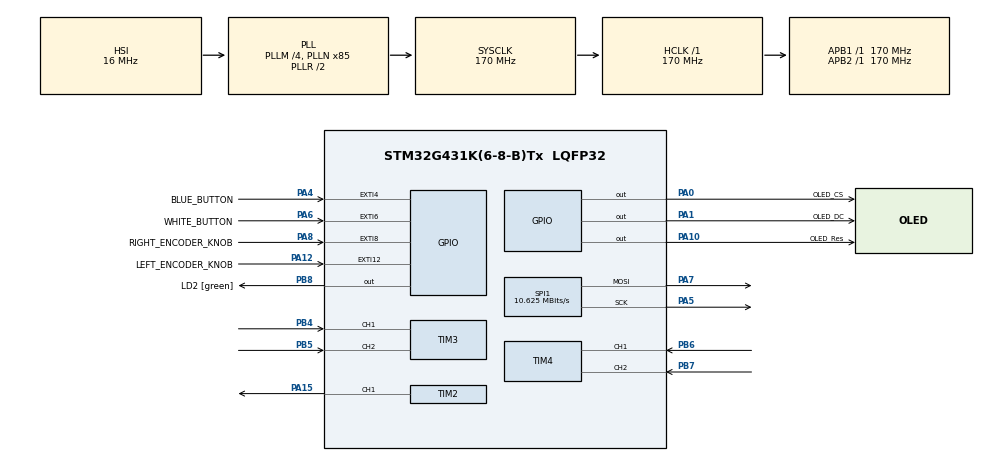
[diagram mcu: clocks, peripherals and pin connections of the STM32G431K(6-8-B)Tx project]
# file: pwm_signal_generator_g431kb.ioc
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Mcu.Family=STM32G4
Mcu.Name=STM32G431K(6-8-B)Tx
Mcu.Package=LQFP32
NUCLEO-G431KB.Bsp_Common_DEMO=true
NUCLEO-G431KB.VCP=true
NVIC.EXTI15_10_IRQn=true\:0\:0\:false\:false\:true\:true\:true\:true
NVIC.EXTI4_IRQn=true\:0\:0\:false\:false\:true\:true\:true\:true
NVIC.EXTI9_5_IRQn=true\:0\:0\:false\:false\:true\:true\:true\:true
NVIC.PriorityGroup=NVIC_PRIORITYGROUP_4
NVIC.TIM3_IRQn=true\:0\:0\:false\:false\:true\:true\:true\:true
NVIC.TIM4_IRQn=true\:0\:0\:false\:false\:true\:true\:true\:true
PA0.GPIO_Label=OLED_CS
PA0.Signal=GPIO_Output
PA1.GPIO_Label=OLED_DC
PA1.Signal=GPIO_Output
PA10.GPIO_Label=OLED_Res
PA10.Signal=GPIO_Output
PA12.GPIO_Label=LEFT_ENCODER_KNOB
PA12.GPIO_ModeDefaultEXTI=GPIO_MODE_IT_FALLING
PA12.GPIO_PuPd=GPIO_PULLUP
PA12.Signal=GPXTI12
PA13.GPIO_Label=T_SWDIO
PA13.Signal=SYS_JTMS-SWDIO
PA14.GPIO_Label=T_SWCLK
PA14.Signal=SYS_JTCK-SWCLK
PA15.Signal=S_TIM2_CH1
PA2.Signal=USART2_TX
PA3.Signal=USART2_RX
PA4.GPIO_Label=BLUE_BUTTON
PA4.GPIO_ModeDefaultEXTI=GPIO_MODE_IT_FALLING
PA4.GPIO_PuPd=GPIO_PULLUP
PA4.Signal=GPXTI4
PA5.Mode=TX_Only_Simplex_Unidirect_Master
PA5.Signal=SPI1_SCK
PA6.GPIO_Label=WHITE_BUTTON
PA6.GPIO_ModeDefaultEXTI=GPIO_MODE_IT_FALLING
PA6.GPIO_PuPd=GPIO_PULLUP
PA6.Signal=GPXTI6
PA7.Mode=TX_Only_Simplex_Unidirect_Master
PA7.Signal=SPI1_MOSI
PA8.GPIO_Label=RIGHT_ENCODER_KNOB
PA8.GPIO_ModeDefaultEXTI=GPIO_MODE_IT_FALLING
PA8.GPIO_PuPd=GPIO_PULLUP
PA8.Signal=GPXTI8
PB3.GPIO_Label=T_SWO
PB3.Signal=SYS_JTDO-SWO
PB4.Signal=S_TIM3_CH1
PB5.Signal=S_TIM3_CH2
PB6.Signal=S_TIM4_CH1
PB7.Signal=S_TIM4_CH2
PB8-BOOT0.GPIO_Label=LD2 [green]
PB8-BOOT0.Signal=GPIO_Output
ProjectManager.HeapSize=0x200
ProjectManager.StackSize=0x400
ProjectManager.TargetToolchain=STM32CubeIDE
RCC.ADC12Freq_Value=170000000
RCC.AHBFreq_Value=170000000
RCC.APB1Freq_Value=170000000
RCC.APB1TimFreq_Value=170000000
RCC.APB2Freq_Value=170000000
RCC.APB2TimFreq_Value=170000000
RCC.CortexFreq_Value=170000000
RCC.EXTERNAL_CLOCK_VALUE=12288000
RCC.HCLKFreq_Value=170000000
RCC.HSE_VALUE=8000000
RCC.HSI48_VALUE=48000000
RCC.HSI_VALUE=16000000
RCC.LSE_VALUE=32768
RCC.PLLM=RCC_PLLM_DIV4
RCC.PLLN=85
RCC.SYSCLKFreq_VALUE=170000000
RCC.SYSCLKSource=RCC_SYSCLKSOURCE_PLLCLK
RCC.USBFreq_Value=170000000
RCC.VCOOutputFreq_Value=340000000
SH.S_TIM2_CH1.0=TIM2_CH1,PWM Generation1 CH1
SH.S_TIM3_CH1.0=TIM3_CH1,Encoder_Interface
SH.S_TIM3_CH2.0=TIM3_CH2,Encoder_Interface
SH.S_TIM4_CH1.0=TIM4_CH1,Encoder_Interface
SH.S_TIM4_CH2.0=TIM4_CH2,Encoder_Interface
SPI1.BaudRatePrescaler=SPI_BAUDRATEPRESCALER_16
SPI1.CalculateBaudRate=10.625 MBits/s
SPI1.DataSize=SPI_DATASIZE_8BIT
SPI1.Direction=SPI_DIRECTION_2LINES
SPI1.Mode=SPI_MODE_MASTER
SPI1.VirtualType=VM_MASTER
TIM2.Channel-PWM\ Generation1\ CH1=TIM_CHANNEL_1
TIM2.OCPolarity_1=TIM_OCPOLARITY_LOW
TIM2.Prescaler=17-1
TIM3.CounterMode=TIM_COUNTERMODE_UP
TIM3.EncoderMode=TIM_ENCODERMODE_TI1
TIM3.IC1Filter=15
TIM3.IC1Polarity=TIM_ICPOLARITY_RISING
TIM3.IC2Filter=15
TIM3.IC2Polarity=TIM_ICPOLARITY_FALLING
TIM4.IC1Filter=15
TIM4.IC2Filter=15
VP_NUCLEO-G431KB_VS_BSP_COMMON.Mode=COMMON
VP_SYS_VS_DBSignals.Mode=DisableDeadBatterySignals
VP_TIM2_VS_ClockSourceINT.Mode=Internal
board=NUCLEO-G431KB

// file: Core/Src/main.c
/* USER CODE BEGIN Header */
/**
 ******************************************************************************
 * @file           : main.c
 * @brief          : Main program body
 ******************************************************************************
 * @attention
 *
 * Copyright (c) 2025 STMicroelectronics.
 * All rights reserved.
 *
 * This software is licensed under terms that can be found in the LICENSE file
 * in the root directory of this software component.
 * If no LICENSE file comes with this software, it is provided AS-IS.
 *
 ******************************************************************************
 */
/* USER CODE END Header */
#include "main.h"
#include "spi.h"
#include "tim.h"
#include "gpio.h"

/* USER CODE BEGIN Includes */
#include "ssd1306.h"
/* USER CODE END Includes */

/* USER CODE BEGIN PD */
//#define DRONE_ESC_PRESETS
//#define SG90_SERVO_PRESETS
//#define THROTTLE_BODY_PRESETS
#define COOLANT_PUMP_PRESETS

#define OLED_REFRESH_RATE 200

// https://github.com/bitdump/BLHeli/blob/master/BLHeli_32%20ARM/BLHeli_32%20manual%20ARM%20Rev32.x.pdf
#ifdef DRONE_ESC_PRESETS
// Left button (blue)
#define FREQUENCY_PRESET_1 50
#define DUTY_CYCLE_PRESET_1 0
// Right button (white)
#define FREQUENCY_PRESET_2 50
#define DUTY_CYCLE_PRESET_2 10  // 2 ms (max throttle)
// Left encoder knob
#define FREQUENCY_PRESET_3 50
#define DUTY_CYCLE_PRESET_3 5  // 1 ms (min throttle)
// Right encoder knob
#define FREQUENCY_PRESET_4 50
#define DUTY_CYCLE_PRESET_4 8  // more than 50% throttle
// Initial frequency
#define INIT_FREQ 50
#define PRESETS_NAME "  Drone ESC presets"
#endif

// https://www.upesy.com/blogs/tutorials/esp32-servo-motor-sg90-on-micropython
#ifdef SG90_SERVO_PRESETS
// Left button (blue)
#define FREQUENCY_PRESET_1 50
#define DUTY_CYCLE_PRESET_1 0
// Right button (white)
#define FREQUENCY_PRESET_2 50
#define DUTY_CYCLE_PRESET_2 10
// Left encoder knob
#define FREQUENCY_PRESET_3 50
#define DUTY_CYCLE_PRESET_3 3 // 0.6 ms (close to 0.5 ms [min value])
// Right encoder knob
#define FREQUENCY_PRESET_4 50
#define DUTY_CYCLE_PRESET_4 12 // 2.4 ms (close to 2.5 ms [max value])
// Initial frequency
#define INIT_FREQ 50
#define PRESETS_NAME "  SG90 servo presets"
#endif

// https://www.bosch-motorsport.com/content/downloads/Raceparts/en-GB/51017995147518219.html
#ifdef THROTTLE_BODY_PRESETS
// Left button (blue)
#define FREQUENCY_PRESET_1 2000
#define DUTY_CYCLE_PRESET_1 0
// Right button (white)
#define FREQUENCY_PRESET_2 4000
#define DUTY_CYCLE_PRESET_2 0
// Left encoder knob
#define FREQUENCY_PRESET_3 2000
#define DUTY_CYCLE_PRESET_3 5
// Right encoder knob
#define FREQUENCY_PRESET_4 2000
#define DUTY_CYCLE_PRESET_4 40
// Initial frequency
#define INIT_FREQ 2000
#define PRESETS_NAME "Throttle body presets"
#endif

// https://openinverter.org/wiki/Bosch_PCE_Coolant_Pumps
#ifdef COOLANT_PUMP_PRESETS
// Left button (blue)
#define FREQUENCY_PRESET_1 100
#define DUTY_CYCLE_PRESET_1 0
// Right button (white)
#define FREQUENCY_PRESET_2 100
#define DUTY_CYCLE_PRESET_2 100
// Left encoder knob
#define FREQUENCY_PRESET_3 100
#define DUTY_CYCLE_PRESET_3 10
// Right encoder knob
#define FREQUENCY_PRESET_4 100
#define DUTY_CYCLE_PRESET_4 50
// Initial frequency
#define INIT_FREQ 100
#define PRESETS_NAME " Coolant pump presets"
#endif
/* USER CODE END PD */

COM_InitTypeDef BspCOMInit;

/* USER CODE BEGIN PV */
uint16_t left_enc_count;
uint16_t right_enc_count;

char lcd_line[32];
uint32_t OledSoftTimer;

int32_t duty_cycle = 0;
int32_t duty_cycle_x2 = 0;
int32_t pwm_freq = INIT_FREQ;
/* USER CODE END PV */

void SystemClock_Config(void);
/* USER CODE BEGIN PFP */
void UpdateARRandCCR(int32_t *_pwm_freq, int32_t *_duty_cycle);
/* USER CODE END PFP */

int main(void)
{

	/* MCU Configuration--------------------------------------------------------*/

	/* Reset of all peripherals, Initializes the Flash interface and the Systick. */
	HAL_Init();

	/* Configure the system clock */
	SystemClock_Config();

	/* Initialize all configured peripherals */
	MX_GPIO_Init();
	MX_SPI1_Init();
	MX_TIM3_Init();
	MX_TIM4_Init();
	MX_TIM2_Init();
	/* USER CODE BEGIN 2 */
	ssd1306_Init();
	ssd1306_Fill(Black);
	ssd1306_SetCursor(4, 10);
	ssd1306_WriteString("PWM signal generator", Font_6x8, White);
	ssd1306_SetCursor(0, 24);
	ssd1306_WriteString(PRESETS_NAME, Font_6x8, White);
	ssd1306_UpdateScreen();

	HAL_TIM_Encoder_Start_IT(&htim3, TIM_CHANNEL_ALL); // left encoder knob
	HAL_TIM_Encoder_Start_IT(&htim4, TIM_CHANNEL_ALL); // right encoder knob

	HAL_TIM_Base_Start(&htim2);
	HAL_TIM_PWM_Start(&htim2, TIM_CHANNEL_1);
	/* USER CODE END 2 */

	/* Initialize COM1 port (115200, 8 bits (7-bit data + 1 stop bit), no parity */
	BspCOMInit.BaudRate = 115200;
	BspCOMInit.WordLength = COM_WORDLENGTH_8B;
	BspCOMInit.StopBits = COM_STOPBITS_1;
	BspCOMInit.Parity = COM_PARITY_NONE;
	BspCOMInit.HwFlowCtl = COM_HWCONTROL_NONE;
	if (BSP_COM_Init(COM1, &BspCOMInit) != BSP_ERROR_NONE)
	{
		Error_Handler();
	}

	/* USER CODE BEGIN BSP */

	/* -- Sample board code to send message over COM1 port ---- */
	printf("Welcome to PWM world!\n\r");

	/* USER CODE END BSP */

	/* Infinite loop */
	/* USER CODE BEGIN WHILE */
	OledSoftTimer = HAL_GetTick();
	while (1)
	{

		if (HAL_GetTick() - OledSoftTimer > OLED_REFRESH_RATE)
		{
			OledSoftTimer = HAL_GetTick();
			sprintf(lcd_line, "Frequency:  %li Hz    ", pwm_freq);
			ssd1306_SetCursor(5, 42);
			ssd1306_WriteString(lcd_line, Font_6x8, White);
			sprintf(lcd_line, "Duty cycle: %li %%    ", duty_cycle);
			ssd1306_SetCursor(5, 54);
			ssd1306_WriteString(lcd_line, Font_6x8, White);
			ssd1306_UpdateScreen();
		}
		/* USER CODE END WHILE */

	}
}

void SystemClock_Config(void)
{
	RCC_OscInitTypeDef RCC_OscInitStruct =
	{ 0 };
	RCC_ClkInitTypeDef RCC_ClkInitStruct =
	{ 0 };

	/** Configure the main internal regulator output voltage
	 */
	HAL_PWREx_ControlVoltageScaling(PWR_REGULATOR_VOLTAGE_SCALE1_BOOST);

	/** Initializes the RCC Oscillators according to the specified parameters
	 * in the RCC_OscInitTypeDef structure.
	 */
	RCC_OscInitStruct.OscillatorType = RCC_OSCILLATORTYPE_HSI;
	RCC_OscInitStruct.HSIState = RCC_HSI_ON;
	RCC_OscInitStruct.HSICalibrationValue = RCC_HSICALIBRATION_DEFAULT;
	RCC_OscInitStruct.PLL.PLLState = RCC_PLL_ON;
	RCC_OscInitStruct.PLL.PLLSource = RCC_PLLSOURCE_HSI;
	RCC_OscInitStruct.PLL.PLLM = RCC_PLLM_DIV4;
	RCC_OscInitStruct.PLL.PLLN = 85;
	RCC_OscInitStruct.PLL.PLLP = RCC_PLLP_DIV2;
	RCC_OscInitStruct.PLL.PLLQ = RCC_PLLQ_DIV2;
	RCC_OscInitStruct.PLL.PLLR = RCC_PLLR_DIV2;
	if (HAL_RCC_OscConfig(&RCC_OscInitStruct) != HAL_OK)
	{
		Error_Handler();
	}

	/** Initializes the CPU, AHB and APB buses clocks
	 */
	RCC_ClkInitStruct.ClockType = RCC_CLOCKTYPE_HCLK | RCC_CLOCKTYPE_SYSCLK
			| RCC_CLOCKTYPE_PCLK1 | RCC_CLOCKTYPE_PCLK2;
	RCC_ClkInitStruct.SYSCLKSource = RCC_SYSCLKSOURCE_PLLCLK;
	RCC_ClkInitStruct.AHBCLKDivider = RCC_SYSCLK_DIV1;
	RCC_ClkInitStruct.APB1CLKDivider = RCC_HCLK_DIV1;
	RCC_ClkInitStruct.APB2CLKDivider = RCC_HCLK_DIV1;

	if (HAL_RCC_ClockConfig(&RCC_ClkInitStruct, FLASH_LATENCY_4) != HAL_OK)
	{
		Error_Handler();
	}
}

/* USER CODE BEGIN 4 */
void HAL_TIM_IC_CaptureCallback(TIM_HandleTypeDef *htim)
{

	if (htim->Instance == TIM3)
	{
//		left_enc_count = __HAL_TIM_GET_COUNTER(&htim3);

		if (((TIM3->CR1) & (0x00000001 << 4)) == 0)  // DIR bit
		{
			if (pwm_freq >= 1000)
			{
				pwm_freq += 500;
			}
			else if (pwm_freq >= 100)
			{
				pwm_freq += 50;
			}
			else
			{
				pwm_freq += 5;
			}
		}
		else
		{
			if (pwm_freq >= 1500)
			{
				pwm_freq -= 500;
			}
			else if (pwm_freq >= 150)
			{
				pwm_freq -= 50;
			}
			else
			{
				pwm_freq -= 5;
			}
		}

		if (pwm_freq < 10)
		{
			pwm_freq = 10;
		}
		else if (pwm_freq > 10000)
		{
			pwm_freq = 10000;
		}

		duty_cycle = duty_cycle_x2 / 2;
		UpdateARRandCCR(&pwm_freq, &duty_cycle);
	}

	if (htim->Instance == TIM4)
	{
//		right_enc_count = __HAL_TIM_GET_COUNTER(&htim4);

		if (((TIM4->CR1) & (0x00000001 << 4)) == 0)  // DIR bit
		{
			duty_cycle_x2 += 1;
		}
		else
		{
			duty_cycle_x2 -= 1;
		}
		if (duty_cycle_x2 < 0)
		{
			duty_cycle_x2 = 0;
		}
		else if (duty_cycle_x2 > 200)
		{
			duty_cycle_x2 = 200;
		}
		duty_cycle = duty_cycle_x2 / 2;
		UpdateARRandCCR(&pwm_freq, &duty_cycle);
	}

}

void HAL_GPIO_EXTI_Callback(uint16_t GPIO_Pin) // Presets
{
	if (GPIO_Pin == BLUE_BUTTON_Pin)
	{
		pwm_freq = FREQUENCY_PRESET_1;
		duty_cycle = DUTY_CYCLE_PRESET_1;
		duty_cycle_x2 = duty_cycle * 2;
		UpdateARRandCCR(&pwm_freq, &duty_cycle);
	}

	if (GPIO_Pin == WHITE_BUTTON_Pin)
	{
		pwm_freq = FREQUENCY_PRESET_2;
		duty_cycle = DUTY_CYCLE_PRESET_2;
		duty_cycle_x2 = duty_cycle * 2;
		UpdateARRandCCR(&pwm_freq, &duty_cycle);
	}

	if (GPIO_Pin == LEFT_ENCODER_KNOB_Pin)
	{
		pwm_freq = FREQUENCY_PRESET_3;
		duty_cycle = DUTY_CYCLE_PRESET_3;
		duty_cycle_x2 = duty_cycle * 2;
		UpdateARRandCCR(&pwm_freq, &duty_cycle);
	}

	if (GPIO_Pin == RIGHT_ENCODER_KNOB_Pin)
	{
		pwm_freq = FREQUENCY_PRESET_4;
		duty_cycle = DUTY_CYCLE_PRESET_4;
		duty_cycle_x2 = duty_cycle * 2;
		UpdateARRandCCR(&pwm_freq, &duty_cycle);
	}
}

void UpdateARRandCCR(int32_t *_pwm_freq, int32_t *_duty_cycle)
{
	__HAL_TIM_SET_AUTORELOAD(&htim2, 10000000 / (*_pwm_freq));
	__HAL_TIM_SET_COUNTER(&htim2, 0);
	__HAL_TIM_SET_COMPARE(&htim2, TIM_CHANNEL_1,
			100000 * (*_duty_cycle) / (*_pwm_freq));
}
/* USER CODE END 4 */

/* USER CODE BEGIN Header */
/**
 ******************************************************************************
 * @file           : main.c
 * @brief          : Main program body
 ******************************************************************************
 * @attention
 *
 * Copyright (c) 2025 STMicroelectronics.
 * All rights reserved.
 *
 * This software is licensed under terms that can be found in the LICENSE file
 * in the root directory of this software component.
 * If no LICENSE file comes with this software, it is provided AS-IS.
 *
 ******************************************************************************
 */
/* USER CODE END Header */

void Error_Handler(void)
{
	__disable_irq();
	while (1)
	{
	}
}
